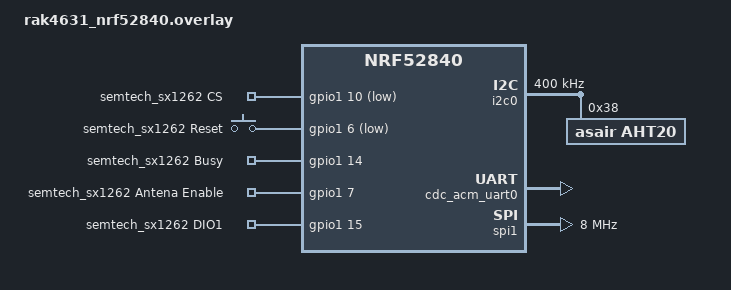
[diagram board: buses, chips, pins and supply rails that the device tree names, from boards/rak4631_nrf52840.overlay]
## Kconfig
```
#
# Copyright (c) 2023 Nordic Semiconductor ASA
#
# SPDX-License-Identifier: LicenseRef-Nordic-5-Clause
#
rsource "../../../sidewalk/samples/common/Kconfig.defconfig"

source "Kconfig.zephyr"
```

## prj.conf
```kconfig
#
# Copyright (c) 2023 Nordic Semiconductor ASA
#
# SPDX-License-Identifier: LicenseRef-Nordic-5-Clause
#

# Sidewalk
CONFIG_SIDEWALK=y
CONFIG_SIDEWALK_TEMPERATURE=y
CONFIG_SIDEWALK_DFU=n
CONFIG_SIDEWALK_THREAD_PRIORITY=10

# Logs
CONFIG_SIDEWALK_LOG_LEVEL_INF=y

# Buttons and LEDs
CONFIG_GPIO=y
CONFIG_DK_LIBRARY=y

# Bluetooth
CONFIG_BT_DEVICE_NAME="Sid demo"

# Debug
CONFIG_RESET_ON_FATAL_ERROR=n

# Shell and USB CDC console
CONFIG_USB_DEVICE_STACK=y
CONFIG_USB_DEVICE_VID=0x2FE9
CONFIG_USB_DEVICE_PRODUCT="RAK_SID"
CONFIG_USB_CDC_ACM_LOG_LEVEL_OFF=y
CONFIG_UART_LINE_CTRL=y
CONFIG_USB_CDC_ACM_RINGBUF_SIZE=512
CONFIG_SHELL_BACKEND_SERIAL_CHECK_DTR=y
CONFIG_REBOOT=y
CONFIG_SHELL=y
CONFIG_SHELL_LOG_BACKEND=y
CONFIG_SHELL_BACKEND_SERIAL_CHECK_DTR=y
CONFIG_USB_CDC_ACM_LOG_LEVEL_OFF=y
CONFIG_SIDEWALK_CLI=y

# DEBUG LOG
CONFIG_SIDEWALK_LOG_LEVEL_DBG=y
#CONFIG_SIDEWALK_CRYPTO_LOG_LEVEL_DBG=y
#CONFIG_SPI_BUS_LOG_LEVEL_DBG=y
#CONFIG_SPI_LOG_LEVEL_DBG=y
#CONFIG_LOG_DEFAULT_LEVEL=4

CONFIG_AHT20=y
```

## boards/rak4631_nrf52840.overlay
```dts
/*
 * SPDX-License-Identifier: Apache-2.0
 */

/ {
	chosen {
		zephyr,console = &cdc_acm_uart0;
		zephyr,shell-uart = &cdc_acm_uart0;
	};
};

&i2c0 {
	status = "okay";
	clock-frequency = <I2C_BITRATE_FAST>;
	aht20@38 {
		status = "okay";
		compatible = "asair,aht20";
		reg = <0x38>;
	};
};

&zephyr_udc0 {
	cdc_acm_uart0: cdc_acm_uart0 {
		compatible = "zephyr,cdc-acm-uart";
	};
};

sid_semtech: &spi1 {
	compatible = "nordic,nrf-spim";
	clock-frequency = <DT_FREQ_M(8)>;
	/delete-property/ cs-gpios;

	lora: lora@0 {
	    status = "disabled";
	};
};

/{
 	semtech_sx1262_gpios{
 		compatible = "gpio-keys";
		semtech_sx1262_cs: cs {
			gpios = <&gpio1 10 GPIO_ACTIVE_LOW>;
			label = "semtech_sx1262 CS";
		};
 		semtech_sx1262_reset_gpios: reset {
			gpios = <&gpio1 6 GPIO_ACTIVE_LOW>;
			label = "semtech_sx1262 Reset";
		};
		semtech_sx1262_busy_gpios: busy {
			gpios = <&gpio1 14 GPIO_ACTIVE_HIGH>;
			label = "semtech_sx1262 Busy";
		};
		semtech_sx1262_antenna_enable_gpios: antena_enable {
			gpios = <&gpio1 7 GPIO_ACTIVE_HIGH>;
			label = "semtech_sx1262 Antena Enable";
		};
		semtech_sx1262_dio1_gpios: dio1 {
			gpios = <&gpio1 15 GPIO_ACTIVE_HIGH>;
			label = "semtech_sx1262 DIO1";
		};
 	};
};
```

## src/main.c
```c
/*
 * Copyright (c) 2023 Nordic Semiconductor ASA
 *
 * SPDX-License-Identifier: LicenseRef-Nordic-5-Clause
 */

#include <sm_task.h>
#include <sm_buttons.h>
#include <sm_leds.h>
#include <pal_init.h>
#include <hal/nrf_power.h>
#include <zephyr/usb/usb_device.h>
#include <zephyr/drivers/uart.h>
#include <sidewalk_version.h>
#include <zephyr/logging/log.h>
LOG_MODULE_REGISTER(sm_main, CONFIG_SIDEWALK_LOG_LEVEL);

static int init_leds_and_buttons()
{
	int err = sm_buttons_init();

	if (err) {
		LOG_ERR("Failed to initialize buttons (err: %d)", err);
		return err;
	}

	err = sm_leds_init();
	if (err) {
		LOG_ERR("Failed to initialize LEDs (err: %d)", err);
		return err;
	}
	return err;
}

int main(void)
{
	int rc;
	if (IS_ENABLED(CONFIG_USB_DEVICE_STACK)) {
		rc = usb_enable(NULL);
		if (rc) {
			LOG_ERR("Failed to enable USB");
		}
	}

	PRINT_SIDEWALK_VERSION();

	if ((nrf_power_mainregstatus_get(NRF_POWER) ==
	     NRF_POWER_MAINREGSTATUS_HIGH))
		LOG_INF("Main regulator status: High voltage mode. Voltage supplied on VDDH.");

	if ((NRF_UICR->REGOUT0 & UICR_REGOUT0_VOUT_Msk) ==
	     (UICR_REGOUT0_VOUT_DEFAULT << UICR_REGOUT0_VOUT_Pos))
		LOG_INF("Output voltage from REG0 regulator stage: 1.8V");

	if ((NRF_UICR->REGOUT0 & UICR_REGOUT0_VOUT_Msk) ==
	     (UICR_REGOUT0_VOUT_3V0 << UICR_REGOUT0_VOUT_Pos))
		LOG_INF("Output voltage from REG0 regulator stage: 3V");

	rc = init_leds_and_buttons();
	if (rc) {
		LOG_INF("Buttons or LEDs faild to initialize.");
		return rc;
	}

	rc = application_pal_init();
	if (rc) {
		LOG_INF("Failed to initialize PAL layer.");
		return rc;
	}

	LOG_INF("Sidewalk demo started!");

	sm_task_start();

	return 0;
}
```

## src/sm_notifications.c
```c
/*
 * Copyright (c) 2023 Nordic Semiconductor ASA
 *
 * SPDX-License-Identifier: LicenseRef-Nordic-5-Clause
 */

#include <sm_notifications.h>
#include <sm_leds.h>
#include <sm_buttons.h>
#include <sm_timers.h>
#include <sid_pal_temperature_ifc.h>
#include <assert.h>
#include <zephyr/kernel.h>
#include <zephyr/logging/log.h>
LOG_MODULE_REGISTER(sm_notify, CONFIG_SIDEWALK_LOG_LEVEL);

#include <zephyr/drivers/sensor.h>

#define SENSOR_NOTIFY_PAYLOAD_SIZE_MAX 32
#define CAPABILITY_NOTIFY_PAYLOAD_SIZE_MAX 32

void sm_notify_capability(app_context_t *app_context)
{
	assert(app_context);

	struct sid_parse_state state = {};
	enum sid_link_type link_type = sm_active_link_type_get(app_context);
	struct sid_demo_capability_discovery cap = {
		.num_buttons = DEMO_BUTTONS_MAX,
		.button_id_arr = sm_buttons_id_array_get(),
		.num_leds = sm_leds_id_array_size_get(),
		.led_id_arr = sm_leds_id_array_get(),
		.temp_sensor = SID_DEMO_TEMPERATURE_SENSOR_UNITS_CELSIUS,
	};

	uint8_t temp_buffer[CAPABILITY_NOTIFY_PAYLOAD_SIZE_MAX] = { 0 };

	cap.link_type = link_type;

	sid_parse_state_init(&state, temp_buffer, sizeof(temp_buffer));
	sid_demo_app_capability_discovery_notification_serialize(&state, &cap);
	if (state.ret_code != SID_ERROR_NONE) {
		LOG_ERR("Capability discovery serialize failed -%d", state.ret_code);
		return;
	}

	struct sid_demo_msg_desc msg_desc = {
		.status_hdr_ind = false,
		.opc = SID_DEMO_MSG_TYPE_NOTIFY,
		.cmd_class = SID_DEMO_APP_CLASS,
		.cmd_id = SID_DEMO_APP_CLASS_CMD_CAP_DISCOVERY_ID,
	};

	struct sid_demo_msg demo_msg = { .payload = temp_buffer, .payload_size = state.offset };

	sid_parse_state_init(&state, app_context->buffer, PAYLOAD_MAX_SIZE);
	sid_demo_app_msg_serialize(&state, &msg_desc, &demo_msg);
	if (state.ret_code != SID_ERROR_NONE) {
		LOG_ERR("Demo msg capability discovery serialize failed -%d", state.ret_code);
		return;
	}

	struct sid_msg msg = {
		.data = app_context->buffer,
		.size = state.offset,
	};

	struct sid_msg_desc desc = {
		.link_type = link_type,
		.type = SID_MSG_TYPE_NOTIFY,
		.link_mode = SID_LINK_MODE_CLOUD,
	};

	LOG_INF("Sending demo app message notify capability");
	sm_send_msg(app_context, &desc, &msg);
}

static void sm_fetch_ath20_data(void)
{
	const struct device *dev = DEVICE_DT_GET_ONE(asair_aht20);
	struct sensor_value temp, humidity;

	if (!device_is_ready(dev)) {
		LOG_ERR("sensor: device not ready");
		return;
	}

	sensor_sample_fetch(dev);

	sensor_channel_get(dev, SENSOR_CHAN_HUMIDITY, &humidity);
	sensor_channel_get(dev, SENSOR_CHAN_AMBIENT_TEMP, &temp);

	LOG_INF("AHT20: T: %.2f RH: %.2f",
		sensor_value_to_double(&temp),
		sensor_value_to_double(&humidity));
}

void sm_notify_sensor_data(app_context_t *app_context, bool button_pressed)
{
	assert(app_context);

	struct sid_parse_state state;
	enum sid_link_type link_type = SID_LINK_TYPE_1;
	struct sid_demo_action_notification action_notify = { 0 };
	struct sid_timespec curr_time = { 0 };
	uint8_t temp_buffer[SENSOR_NOTIFY_PAYLOAD_SIZE_MAX] = { 0 };

	memset(&state, 0, sizeof(state));

	action_notify.button_action_notify.action_resp = (button_pressed) ? SID_DEMO_ACTION_BUTTON_PRESSED :
							 SID_DEMO_ACTION_BUTTON_NOT_PRESSED;
	sid_get_time(app_context->sidewalk_handle, SID_GET_GPS_TIME, &curr_time);

	if (!button_pressed) {
		action_notify.temp_sensor = SID_DEMO_TEMPERATURE_SENSOR_UNITS_CELSIUS;
		action_notify.temperature = sid_pal_temperature_get();
	} else {
		action_notify.temp_sensor = SID_DEMO_TEMPERATURE_SENSOR_NOT_SUPPORTED;
		uint8_t temp_button_arr[DEMO_BUTTONS_MAX] = { 0 };
		uint8_t num_buttons_pressed = 0;
		for (size_t i = 0; i < DEMO_BUTTONS_MAX; i++) {
			if (sm_buttons_press_mask_bit_is_set(i) && !sm_buttons_notify_mask_bit_is_set(i)) {
				uint8_t *btn_id_array = sm_buttons_id_array_get();
				temp_button_arr[num_buttons_pressed] = btn_id_array[i];
				num_buttons_pressed += 1;
				sm_buttons_notify_mask_bit_set(i);
				sm_buttons_press_time_set(i, curr_time.tv_sec);
				sm_btn_press_timer_set_and_run(K_SECONDS(BUTTON_PRESS_CHECK_PERIOD_SECS), false);
			}
		}
		action_notify.button_action_notify.button_id_arr = temp_button_arr;
		action_notify.button_action_notify.num_buttons = num_buttons_pressed;
	}

	action_notify.gps_time_in_seconds = curr_time.tv_sec;

	link_type = sm_active_link_type_get(app_context);
	action_notify.link_type = link_type;

	sid_parse_state_init(&state, temp_buffer, sizeof(temp_buffer));
	sid_demo_app_action_notification_serialize(&state, &action_notify);
	if (state.ret_code != SID_ERROR_NONE) {
		LOG_ERR("Application action serialize failed -%d", state.ret_code);
		return;
	}

	struct sid_demo_msg_desc msg_desc = {
		.status_hdr_ind = false,
		.opc = SID_DEMO_MSG_TYPE_NOTIFY,
		.cmd_class = SID_DEMO_APP_CLASS,
		.cmd_id = SID_DEMO_APP_CLASS_CMD_ACTION,
	};

	struct sid_demo_msg demo_msg = { .payload = temp_buffer, .payload_size = state.offset };

	sid_parse_state_init(&state, app_context->buffer, PAYLOAD_MAX_SIZE);
	sid_demo_app_msg_serialize(&state, &msg_desc, &demo_msg);
	if (state.ret_code != SID_ERROR_NONE) {
		LOG_ERR("Demo msg notify sensor data serialize failed -%d", state.ret_code);
		return;
	}

	struct sid_msg msg = {
		.data = app_context->buffer,
		.size = state.offset,
	};
	struct sid_msg_desc desc = {
		.link_type = link_type,
		.type = SID_MSG_TYPE_NOTIFY,
		.link_mode = SID_LINK_MODE_CLOUD,
	};

	if (button_pressed) {
		desc.msg_desc_attr.tx_attr.ttl_in_seconds = SID_DEMO_APP_TTL_MAX;
		desc.msg_desc_attr.tx_attr.num_retries = SID_DEMO_APP_RETRIES_MAX;
		desc.msg_desc_attr.tx_attr.request_ack = true;
		LOG_INF("Sending demo app message notify button press");
	} else {
		LOG_INF("Sending demo app message notify sensor data");
	}

	sm_fetch_ath20_data();

	sm_send_msg(app_context, &desc, &msg);
}

void sm_check_button_press_notify(app_context_t *app_context)
{
	assert(app_context);

	struct sid_timespec curr_time = { 0 };
	uint16_t next_timer_schedule_secs = 0;

	sid_get_time(app_context->sidewalk_handle, SID_GET_GPS_TIME, &curr_time);

	for (size_t i = 0; i < DEMO_BUTTONS_MAX; i++) {
		if (sm_buttons_press_time_get(i)) {
			if (sm_buttons_notify_mask_bit_is_set(i)) {
				next_timer_schedule_secs = curr_time.tv_sec - sm_buttons_press_time_get(i);
				LOG_INF(
					"Button press timeout pre check: button_notify_mask %x next_timer_schedule_secs %d",
					sm_buttons_notify_mask_get(), next_timer_schedule_secs);
				if (next_timer_schedule_secs >= BUTTON_PRESS_CHECK_PERIOD_SECS) {
					sm_buttons_notify_mask_bit_clear(i);
					sm_buttons_press_mask_bit_clear(i);
					sm_buttons_press_time_set(i, 0);
					next_timer_schedule_secs = 0;
				}
			} else {
				sm_buttons_press_time_set(i, 0);
			}
		}
	}

	LOG_INF("Button press timeout post check: button_notify_mask %x next_timer_schedule_secs %d",
		sm_buttons_notify_mask_get(), next_timer_schedule_secs);

	if (next_timer_schedule_secs) {
		sm_btn_press_timer_set_and_run(K_SECONDS(next_timer_schedule_secs), true);
	}
}
```
